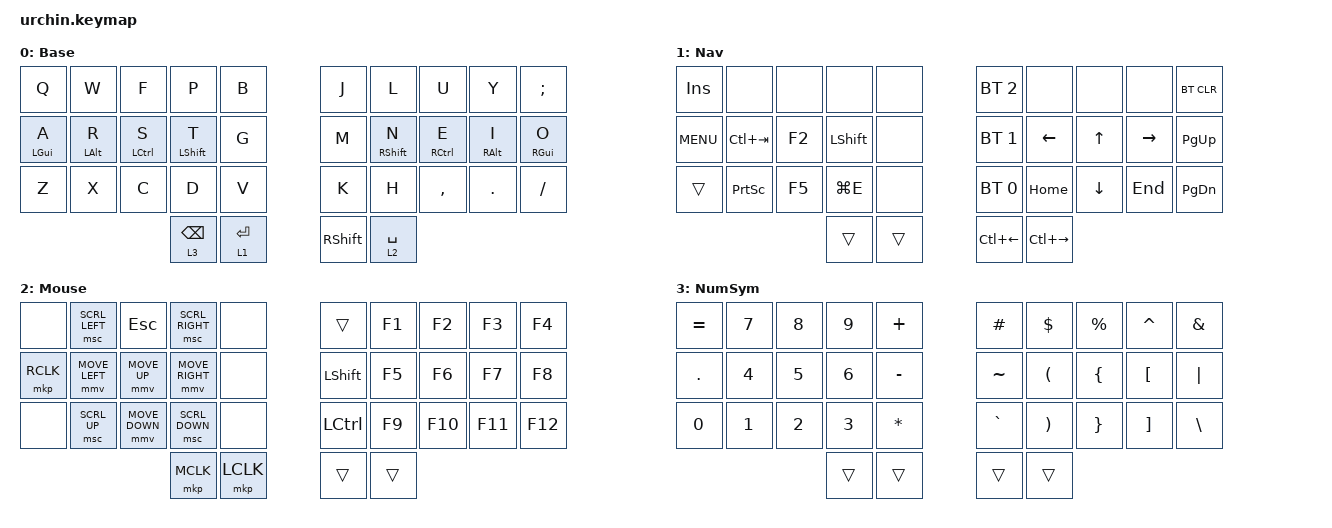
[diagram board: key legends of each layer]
/*
 * Copyright (c) 2020 duckyb
 *
 * SPDX-License-Identifier: MIT
 */

#include <behaviors.dtsi>
#include <dt-bindings/zmk/bt.h>
#include <dt-bindings/zmk/keys.h>
#include <dt-bindings/zmk/pointing.h>

// Layer definitions

#define Base 0
#define Nav 1
#define Mouse 2
#define Num 3
#define Sym 4

// -----------------

/ {
    behaviors {
        // Enables holding the first mod-tap key
        // by performing a tap-release-hold sequence.
        // To use it: "&qt KEYCODE1 KEYCODE2"

        hrml: hrml {
            compatible = "zmk,behavior-hold-tap";
            label = "HRML";
            bindings = <&kp>, <&kp>;

            #binding-cells = <2>;
            tapping-term-ms = <200>;
            flavor = "balanced";
            hold-trigger-key-positions = <19 18 16 17 5 6 7 8 9 15 16 17 18 19 25 26 27 28 29 33>;
            quick-tap-ms = <100>;
            require-prior-idle-ms = <75>;
            hold-trigger-on-release;
        };

        hrmr: hrmr {
            compatible = "zmk,behavior-hold-tap";
            label = "HRMR";
            bindings = <&kp>, <&kp>;

            #binding-cells = <2>;
            tapping-term-ms = <200>;
            flavor = "balanced";
            quick-tap-ms = <100>;
            require-prior-idle-ms = <74>;
            hold-trigger-on-release;
            hold-trigger-key-positions = <10 11 12 13 0 4 10 11 12 13 14 20 21 22 23 24 30 31 1 2 3>;
        };
    };

    macros {
        // sometimes my device thinks a modifier is being held down
        // pressing all modifiers fixes it.

        unstick: unstick {
            label = "ZM_unstick";
            compatible = "zmk,behavior-macro";
            #binding-cells = <0>;
            bindings = <&kp LSHIFT &kp RSHIFT &kp LCTRL &kp RCTRL &kp LALT &kp RALT &kp LGUI &kp RGUI>;
        };
    };

    combos {
        compatible = "zmk,combos";

        // both right thumb keys

        combo_tab {
            key-positions = <0 1>;
            bindings = <&kp TAB>;
            layers = <0>;
        };

        // internal-left & external-right thumb keys

        combo_esc {
            key-positions = <1 2>;
            bindings = <&kp ESCAPE>;
            layers = <0>;
        };

        // both left thumb keys

        combo_at {
            key-positions = <2 3>;
            bindings = <&kp AT>;
            layers = <0>;
        };

        // left index & middle fingers (home-row)
        // hold control & space for Adobe workflow

        combo_hyphen {
            key-positions = <3 4>;
            bindings = <&kp MINUS>;
            layers = <0>;
        };

        combo_del {
            bindings = <&kp DELETE>;
            key-positions = <20 21>;
            layers = <0>;
        };

        combo_copy {
            bindings = <&kp LC(C)>;
            key-positions = <21 22>;
            layers = <0>;
        };

        combo_paste {
            bindings = <&kp LC(V)>;
            key-positions = <23 22>;
            layers = <0>;
        };

        combo_undsc {
            bindings = <&kp UNDER>;
            key-positions = <23 24>;
            layers = <0>;
        };

        combo_cut {
            bindings = <&kp LC(X)>;
            key-positions = <20 22>;
            layers = <0>;
        };

        combo_undo {
            bindings = <&kp LC(Z)>;
            key-positions = <23 21>;
            layers = <0>;
        };

        combo_open {
            bindings = <&kp LC(O)>;
            key-positions = <4 14>;
            layers = <0>;
        };

        combo_save {
            bindings = <&kp LC(S)>;
            key-positions = <24 14>;
            layers = <0>;
        };

        combo_caps {
            bindings = <&kp CAPS>;
            key-positions = <5 6>;
            layers = <0>;
        };

        combo_colon {
            bindings = <&kp COLON>;
            key-positions = <8 9>;
            layers = <0>;
        };

        combo_quest {
            bindings = <&kp QUESTION>;
            key-positions = <29 28>;
            layers = <0>;
        };

        combo_excl {
            bindings = <&kp EXCL>;
            key-positions = <28 27>;
            layers = <0>;
        };

        combo_squt {
            bindings = <&kp SQT>;
            key-positions = <27 26>;
            layers = <0>;
        };

        combo_dqut {
            bindings = <&kp DQT>;
            key-positions = <28 26>;
            layers = <0>;
        };

        combo_mousetg {
            bindings = <&tog 2>;
            key-positions = <24 20>;
            layers = <0 2>;
        };

        Prtscn {
            bindings = <&kp PRINTSCREEN>;
            key-positions = <0 3>;
        };
    };

    keymap {
        compatible = "zmk,keymap";

        // Base alpha layer

        default_layer {
            label = "Base";
            bindings = <
&kp Q             &kp W         &kp F          &kp P               &kp B        &kp J            &kp L                &kp U          &kp Y              &kp SEMICOLON
&hrmr LEFT_GUI A  &hrmr LALT R  &hrmr LCTRL S  &hrmr LEFT_SHIFT T  &kp G        &kp M            &hrml RIGHT_SHIFT N  &hrml RCTRL E  &hrml RIGHT_ALT I  &hrml RGUI O
&kp Z             &kp X         &kp C          &kp D               &kp V        &kp K            &kp H                &kp COMMA      &kp DOT            &kp SLASH
                                               &lt 3 BACKSPACE     &lt 1 ENTER  &kp RIGHT_SHIFT  &lt 2 SPACE
            >;
        };

        // Numbers and high frequency symbols

        nav_layer {
            label = "Nav";
            bindings = <
&kp INSERT  &none            &none   &none       &none   &bt BT_SEL 2        &none           &none           &none      &bt BT_CLR
&kp K_MENU  &kp LC(TAB)      &kp F2  &kp LSHIFT  &none   &bt BT_SEL 1        &kp LEFT_ARROW  &kp UP_ARROW    &kp RIGHT  &kp PAGE_UP
&trans      &kp PRINTSCREEN  &kp F5  &kp LG(E)   &none   &bt BT_SEL 0        &kp HOME        &kp DOWN_ARROW  &kp END    &kp PAGE_DOWN
                                     &trans      &trans  &kp LC(LEFT_ARROW)  &kp LC(RIGHT)
            >;
        };

        // Main modifiers and arrow keys

        mouse_layer {
            label = "Mouse";
            bindings = <
&none      &msc SCRL_LEFT  &kp ESCAPE      &msc SCRL_RIGHT  &none      &trans            &kp F1  &kp F2   &kp F3   &kp F4
&mkp RCLK  &mmv MOVE_LEFT  &mmv MOVE_UP    &mmv MOVE_RIGHT  &none      &kp LEFT_SHIFT    &kp F5  &kp F6   &kp F7   &kp F8
&none      &msc SCRL_UP    &mmv MOVE_DOWN  &msc SCRL_DOWN   &none      &kp LEFT_CONTROL  &kp F9  &kp F10  &kp F11  &kp F12
                                           &mkp MCLK        &mkp LCLK  &trans            &trans
            >;
        };

        // Function keys with modifiers

        num_layer {
            label = "NumSym";
            bindings = <
&kp EQUAL     &kp N7        &kp N8        &kp N9        &kp PLUS      &kp HASH   &kp DOLLAR             &kp PERCENT      &kp CARET          &kp AMPERSAND
&kp DOT       &kp NUMBER_4  &kp N5        &kp NUMBER_6  &kp MINUS     &kp TILDE  &kp LEFT_PARENTHESIS   &kp LEFT_BRACE   &kp LEFT_BRACKET   &kp PIPE
&kp NUMBER_0  &kp NUMBER_1  &kp NUMBER_2  &kp NUMBER_3  &kp ASTERISK  &kp GRAVE  &kp RIGHT_PARENTHESIS  &kp RIGHT_BRACE  &kp RIGHT_BRACKET  &kp BACKSLASH
                                          &trans        &trans        &trans     &trans
            >;
        };

        // Low frequency symbols.
    };
};
